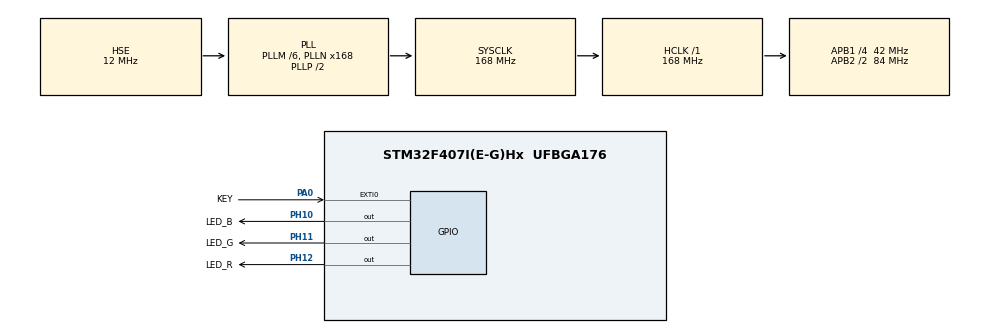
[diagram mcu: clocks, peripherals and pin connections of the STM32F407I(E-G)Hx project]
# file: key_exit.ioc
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Mcu.Family=STM32F4
Mcu.Name=STM32F407I(E-G)Hx
Mcu.Package=UFBGA176
NVIC.EXTI0_IRQn=true\:0\:0\:false\:false\:true\:true\:true
NVIC.PriorityGroup=NVIC_PRIORITYGROUP_4
PA0-WKUP.GPIO_Label=KEY
PA0-WKUP.GPIO_ModeDefaultEXTI=GPIO_MODE_IT_RISING_FALLING
PA0-WKUP.GPIO_PuPd=GPIO_PULLUP
PA0-WKUP.Signal=GPXTI0
PA13.Mode=Serial_Wire
PA13.Signal=SYS_JTMS-SWDIO
PA14.Mode=Serial_Wire
PA14.Signal=SYS_JTCK-SWCLK
PH0-OSC_IN.Mode=HSE-External-Oscillator
PH0-OSC_IN.Signal=RCC_OSC_IN
PH1-OSC_OUT.Mode=HSE-External-Oscillator
PH1-OSC_OUT.Signal=RCC_OSC_OUT
PH10.GPIO_Label=LED_B
PH10.GPIO_PuPd=GPIO_PULLUP
PH10.PinState=GPIO_PIN_SET
PH10.Signal=GPIO_Output
PH11.GPIO_Label=LED_G
PH11.GPIO_PuPd=GPIO_PULLUP
PH11.PinState=GPIO_PIN_SET
PH11.Signal=GPIO_Output
PH12.GPIO_Label=LED_R
PH12.GPIO_PuPd=GPIO_PULLUP
PH12.PinState=GPIO_PIN_SET
PH12.Signal=GPIO_Output
ProjectManager.HeapSize=0x200
ProjectManager.StackSize=0x400
ProjectManager.TargetToolchain=MDK-ARM V5
RCC.48MHZClocksFreq_Value=84000000
RCC.AHBFreq_Value=168000000
RCC.APB1CLKDivider=RCC_HCLK_DIV4
RCC.APB1Freq_Value=42000000
RCC.APB1TimFreq_Value=84000000
RCC.APB2CLKDivider=RCC_HCLK_DIV2
RCC.APB2Freq_Value=84000000
RCC.APB2TimFreq_Value=168000000
RCC.CortexFreq_Value=168000000
RCC.HCLKFreq_Value=168000000
RCC.HSE_VALUE=12000000
RCC.HSI_VALUE=16000000
RCC.LSE_VALUE=32768
RCC.PLLM=6
RCC.PLLN=168
RCC.PLLSourceVirtual=RCC_PLLSOURCE_HSE
RCC.SYSCLKFreq_VALUE=168000000
RCC.SYSCLKSource=RCC_SYSCLKSOURCE_PLLCLK
RCC.VCOOutputFreq_Value=336000000
board=custom

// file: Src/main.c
/* USER CODE BEGIN Header */
/**
  ******************************************************************************
  * @file           : main.c
  * @brief          : Main program body
  ******************************************************************************
  * @attention
  *
  * <h2><center>&copy; Copyright (c) 2019 STMicroelectronics.
  * All rights reserved.</center></h2>
  *
  * This software component is licensed by ST under BSD 3-Clause license,
  * the "License"; You may not use this file except in compliance with the
  * License. You may obtain a copy of the License at:
  *                        opensource.org/licenses/BSD-3-Clause
  *
  ******************************************************************************
  */
/* USER CODE END Header */

#include "main.h"
#include "gpio.h"

void SystemClock_Config(void);

/* USER CODE BEGIN 0 */
//backgroud program
//后台程序
uint8_t exit_flag = 0;
uint8_t rising_falling_flag;

/**
  * @brief          exit callback function
  * @param[in]      GPIO_Pin:gpio pin
  * @retval         none
  */
/**
  * @brief          外部中断回调
  * @param[in]      GPIO_Pin:引脚号
  * @retval         none
  */
void HAL_GPIO_EXTI_Callback(uint16_t GPIO_Pin)
{
    if(GPIO_Pin == KEY_Pin)
    {
        if(exit_flag == 0)
        {
            exit_flag = 1;
            rising_falling_flag = HAL_GPIO_ReadPin(KEY_GPIO_Port, KEY_Pin);
        }
    }
}
/* USER CODE END 0 */

int main(void)
{

  /* MCU Configuration--------------------------------------------------------*/

  /* Reset of all peripherals, Initializes the Flash interface and the Systick. */
  HAL_Init();

  /* Configure the system clock */
  SystemClock_Config();

  /* Initialize all configured peripherals */
  MX_GPIO_Init();
  /* USER CODE BEGIN 2 */
    //set led dark
    //关闭led
    HAL_GPIO_WritePin(LED_R_GPIO_Port, LED_R_Pin, GPIO_PIN_RESET);
    HAL_GPIO_WritePin(LED_G_GPIO_Port, LED_G_Pin, GPIO_PIN_RESET);
    HAL_GPIO_WritePin(LED_B_GPIO_Port, LED_B_Pin, GPIO_PIN_RESET);
  /* USER CODE END 2 */

  /* Infinite loop */
  while (1)
  {

    /* USER CODE BEGIN 3 */

        //foreground program
        //前台程序
        if(exit_flag == 1)
        {
            exit_flag = 2;
            if(rising_falling_flag == GPIO_PIN_RESET)
            {
                //debouce
                //消抖
                HAL_Delay(20);
                if(HAL_GPIO_ReadPin(KEY_GPIO_Port, KEY_Pin) == GPIO_PIN_RESET)
                {
                    HAL_GPIO_WritePin(LED_G_GPIO_Port, LED_G_Pin, GPIO_PIN_SET);
                    exit_flag = 0;
                }
                else
                {
                    exit_flag = 0;
                }
            }
            else if(rising_falling_flag == GPIO_PIN_SET)
            {
                //debouce
                //消抖
                HAL_Delay(20);
                if(HAL_GPIO_ReadPin(KEY_GPIO_Port, KEY_Pin) == GPIO_PIN_SET)
                {
                    HAL_GPIO_WritePin(LED_G_GPIO_Port, LED_G_Pin, GPIO_PIN_RESET);
                    exit_flag = 0;
                }
                else
                {
                    exit_flag = 0;
                }
            }

        }
  }
  /* USER CODE END 3 */
}

void SystemClock_Config(void)
{
  RCC_OscInitTypeDef RCC_OscInitStruct = {0};
  RCC_ClkInitTypeDef RCC_ClkInitStruct = {0};

  /** Configure the main internal regulator output voltage
  */
  __HAL_RCC_PWR_CLK_ENABLE();
  __HAL_PWR_VOLTAGESCALING_CONFIG(PWR_REGULATOR_VOLTAGE_SCALE1);
  /** Initializes the CPU, AHB and APB busses clocks
  */
  RCC_OscInitStruct.OscillatorType = RCC_OSCILLATORTYPE_HSE;
  RCC_OscInitStruct.HSEState = RCC_HSE_ON;
  RCC_OscInitStruct.PLL.PLLState = RCC_PLL_ON;
  RCC_OscInitStruct.PLL.PLLSource = RCC_PLLSOURCE_HSE;
  RCC_OscInitStruct.PLL.PLLM = 6;
  RCC_OscInitStruct.PLL.PLLN = 168;
  RCC_OscInitStruct.PLL.PLLP = RCC_PLLP_DIV2;
  RCC_OscInitStruct.PLL.PLLQ = 4;
  if (HAL_RCC_OscConfig(&RCC_OscInitStruct) != HAL_OK)
  {
    Error_Handler();
  }
  /** Initializes the CPU, AHB and APB busses clocks
  */
  RCC_ClkInitStruct.ClockType = RCC_CLOCKTYPE_HCLK|RCC_CLOCKTYPE_SYSCLK
                              |RCC_CLOCKTYPE_PCLK1|RCC_CLOCKTYPE_PCLK2;
  RCC_ClkInitStruct.SYSCLKSource = RCC_SYSCLKSOURCE_PLLCLK;
  RCC_ClkInitStruct.AHBCLKDivider = RCC_SYSCLK_DIV1;
  RCC_ClkInitStruct.APB1CLKDivider = RCC_HCLK_DIV4;
  RCC_ClkInitStruct.APB2CLKDivider = RCC_HCLK_DIV2;

  if (HAL_RCC_ClockConfig(&RCC_ClkInitStruct, FLASH_LATENCY_5) != HAL_OK)
  {
    Error_Handler();
  }
}

void Error_Handler(void)
{
}

/************************ (C) COPYRIGHT STMicroelectronics *****END OF FILE****/
